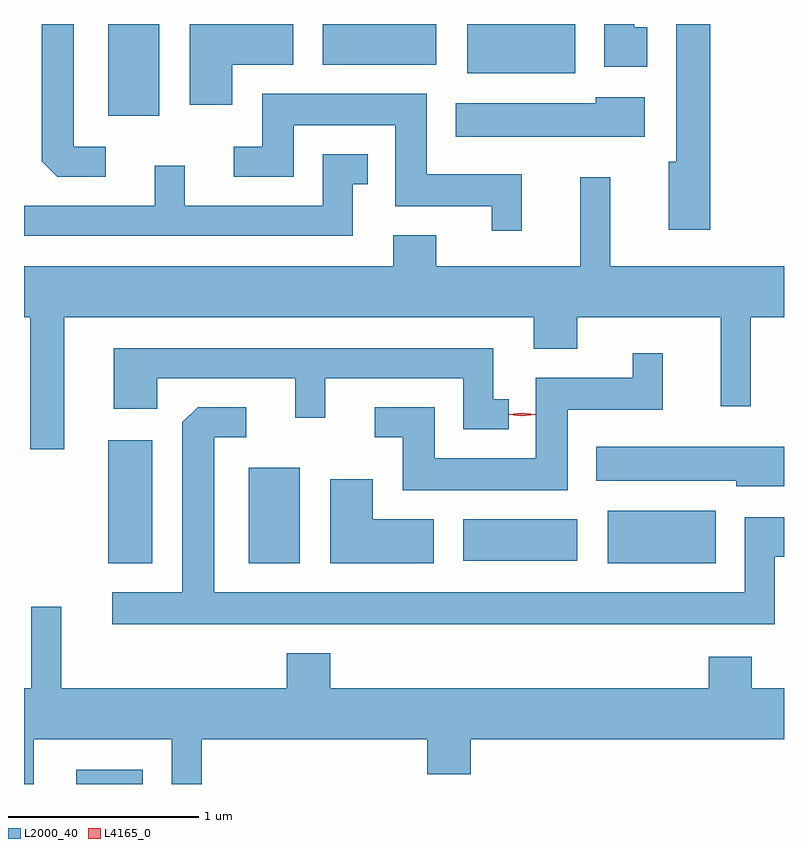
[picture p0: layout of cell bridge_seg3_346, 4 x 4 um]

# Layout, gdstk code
import gdstk
lib = gdstk.Library(unit=1e-6, precision=1e-09)
def R(c, l, rs):  # rectangles x0, y0, x1, y1
    for r in rs: c.add(gdstk.rectangle(r[:2], r[2:], *l))
def P(c, l, *ps):  # polygons
    for p in ps: c.add(gdstk.Polygon(p, *l))
L2000_40 = (2000, 40)
L4165_0 = (4165, 0)

bridge_seg3_346 = lib.new_cell('bridge_seg3_346')
R(bridge_seg3_346, L2000_40, [(677.253,1227.9,677.604,1227.974), (677.421,1229.061,677.654,1229.709), (678.161,1229.061,678.429,1229.564), (680.051,1229.061,680.619,1229.339), (679.291,1229.076,679.889,1229.294), (677.421,1231.416,677.689,1231.9), (679.311,1231.641,679.879,1231.9), (678.551,1231.686,679.149,1231.9)])
P(bridge_seg3_346, L2000_40, [(678.074,1231.686),(678.394,1231.686),(678.394,1231.9),(677.851,1231.9),(677.851,1231.476),(678.074,1231.476)],
  [(677.408,1231.254),(677.239,1231.254),(677.239,1231.9),(677.071,1231.9),(677.071,1231.177),(677.152,1231.096),(677.408,1231.096)],
  [(680.259,1231.884),(680.189,1231.884),(680.189,1231.9),(680.031,1231.9),(680.031,1231.676),(680.259,1231.676)],
  [(680.589,1231.9),(680.411,1231.9),(680.411,1231.174),(680.371,1231.174),(680.371,1230.816),(680.589,1230.816)],
  [(679.599,1231.109),(679.099,1231.109),(679.099,1231.534),(678.231,1231.534),(678.231,1231.254),(678.083,1231.254),(678.083,1231.096),(678.399,1231.096),(678.399,1231.366),(678.931,1231.366),(678.931,1230.941),(679.441,1230.941),(679.441,1230.813),(679.599,1230.813)],
  [(680.244,1231.514),(679.986,1231.514),(679.986,1231.484),(679.251,1231.484),(679.251,1231.306),(680.244,1231.306)],
  [(678.709,1231.056),(678.788,1231.056),(678.788,1231.214),(678.551,1231.214),(678.551,1230.944),(677.824,1230.944),(677.824,1231.153),(677.666,1231.153),(677.666,1230.944),(676.978,1230.944),(676.978,1230.786),(678.709,1230.786)],
  [(680.064,1231.093),(679.906,1231.093),(679.906,1230.624),(679.149,1230.624),(679.149,1230.789),(678.921,1230.789),(678.921,1230.624),(676.978,1230.624),(676.978,1230.356),(677.011,1230.356),(677.011,1229.661),(677.189,1229.661),(677.189,1230.356),(679.661,1230.356),(679.661,1230.191),(679.889,1230.191),(679.889,1230.356),(680.646,1230.356),(680.646,1229.888),(680.804,1229.888),(680.804,1230.356),(680.978,1230.356),(680.978,1230.624),(680.064,1230.624)],
  [(679.528,1229.924),(679.449,1229.924),(679.449,1230.194),(677.451,1230.194),(677.451,1229.876),(677.679,1229.876),(677.679,1230.036),(678.406,1230.036),(678.406,1229.828),(678.564,1229.828),(678.564,1230.036),(679.291,1230.036),(679.291,1229.766),(679.528,1229.766)],
  [(679.839,1229.871),(680.339,1229.871),(680.339,1230.168),(680.181,1230.168),(680.181,1230.039),(679.671,1230.039),(679.671,1229.614),(679.139,1229.614),(679.139,1229.884),(678.823,1229.884),(678.823,1229.726),(678.971,1229.726),(678.971,1229.446),(679.839,1229.446)],
  [(680.929,1229.096),(680.978,1229.096),(680.978,1229.304),(680.771,1229.304),(680.771,1228.909),(677.979,1228.909),(677.979,1229.726),(678.148,1229.726),(678.148,1229.884),(677.892,1229.884),(677.811,1229.804),(677.811,1228.909),(677.443,1228.909),(677.443,1228.741),(680.929,1228.741)],
  [(680.978,1229.674),(679.991,1229.674),(679.991,1229.496),(680.726,1229.496),(680.726,1229.466),(680.978,1229.466)],
  [(679.134,1229.294),(678.814,1229.294),(678.814,1229.504),(678.591,1229.504),(678.591,1229.061),(679.134,1229.061)],
  [(677.029,1228.136),(677.756,1228.136),(677.756,1227.9),(677.914,1227.9),(677.914,1228.136),(679.101,1228.136),(679.101,1227.951),(679.329,1227.951),(679.329,1228.136),(680.978,1228.136),(680.978,1228.404),(680.809,1228.404),(680.809,1228.569),(680.581,1228.569),(680.581,1228.404),(678.589,1228.404),(678.589,1228.589),(678.361,1228.589),(678.361,1228.404),(677.174,1228.404),(677.174,1228.833),(677.016,1228.833),(677.016,1228.404),(676.978,1228.404),(676.978,1227.9),(677.029,1227.9)])
P(bridge_seg3_346, L4165_0, [(679.598,1229.835),(679.529,1229.844),(679.529,1229.845),(679.529,1229.846),(679.598,1229.855),(679.668,1229.846),(679.668,1229.845),(679.668,1229.844)])

lib.write_gds('bridge_seg3_346.gds')
